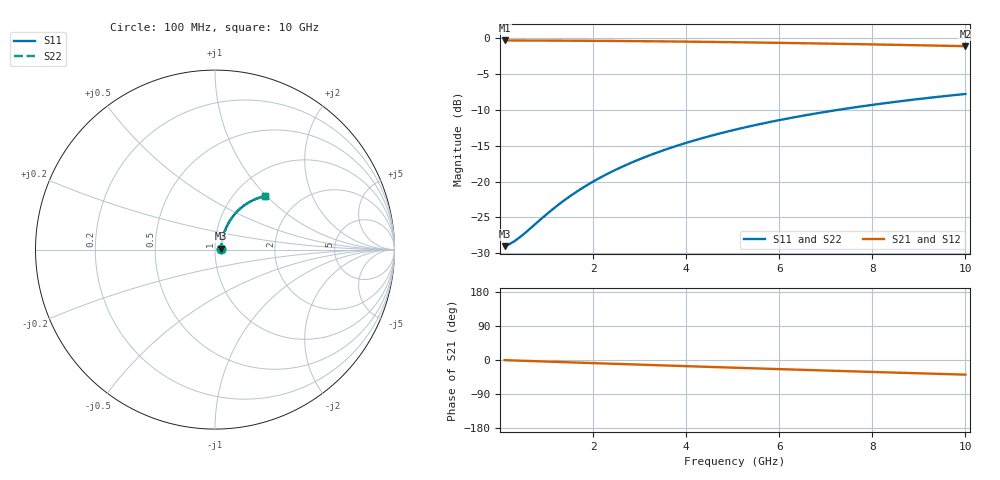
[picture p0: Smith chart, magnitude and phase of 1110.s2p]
# Hz S RI R 50.00
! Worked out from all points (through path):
!   100 points, 100 MHz to 10 GHz, reference 50 ohm
!   highest |S21| = -0.31 dB at 100 MHz (marker M1); lowest = -1.1 dB at 10 GHz (marker M2)
!   group delay of S21, straight-line fit = 10.8 ps
!   lowest |S11| = -29.0 dB at 100 MHz (marker M3), VSWR 1.07, Z = 53.6 + j0.477 ohm
!   |S11| at or under -10 dB: start of sweep to 7.259 GHz
!   |S22| runs from -29.0 to -7.8 dB; largest |S21 - S12| = 0
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1e8  0.0352 0.00444  0.9648 -0.00692  0.9648 -0.00692  0.0352 0.00444
2e8  0.0355 0.00887  0.9645 -0.0138  0.9645 -0.0138  0.0355 0.00887
3e8  0.0358 0.0133  0.9641 -0.0207  0.9641 -0.0207  0.0358 0.0133
4e8  0.0362 0.0177  0.9638 -0.0276  0.9638 -0.0276  0.0362 0.0177
6e8  0.037 0.0265  0.9629 -0.0414  0.9629 -0.0414  0.037 0.0265
1e9  0.0394 0.0441  0.9603 -0.0689  0.9603 -0.0689  0.0394 0.0441
1.2e9  0.0409 0.0528  0.9586 -0.0826  0.9586 -0.0826  0.0409 0.0528
1.5e9  0.0436 0.0657  0.9557 -0.1029  0.9557 -0.1029  0.0436 0.0657
1.8e9  0.0468 0.0785  0.9521 -0.1232  0.9521 -0.1232  0.0468 0.0785
2.1e9  0.0506 0.0911  0.948 -0.1433  0.948 -0.1433  0.0506 0.0911
2.5e9  0.0564 0.1076  0.9416 -0.1697  0.9416 -0.1697  0.0564 0.1076
2.9e9  0.0631 0.1237  0.9342 -0.1957  0.9342 -0.1957  0.0631 0.1237
3.4e9  0.0727 0.1431  0.9236 -0.2276  0.9236 -0.2276  0.0727 0.1431
3.8e9  0.0813 0.158  0.9141 -0.2525  0.9141 -0.2525  0.0813 0.158
4.2e9  0.0906 0.1723  0.9037 -0.2768  0.9037 -0.2768  0.0906 0.1723
4.6e9  0.1006 0.186  0.8926 -0.3005  0.8926 -0.3005  0.1006 0.186
5.1e9  0.1141 0.2022  0.8776 -0.3292  0.8776 -0.3292  0.1141 0.2022
5.9e9  0.1376 0.2258  0.8513 -0.3728  0.8513 -0.3728  0.1376 0.2258
6.7e9  0.163 0.2463  0.8226 -0.4135  0.8226 -0.4135  0.163 0.2463
7.5e9  0.1899 0.2638  0.792 -0.4512  0.792 -0.4512  0.1899 0.2638
8.4e9  0.2215 0.2796  0.7557 -0.4898  0.7557 -0.4898  0.2215 0.2796
1e10  0.2793 0.298  0.688 -0.5491  0.688 -0.5491  0.2793 0.298
